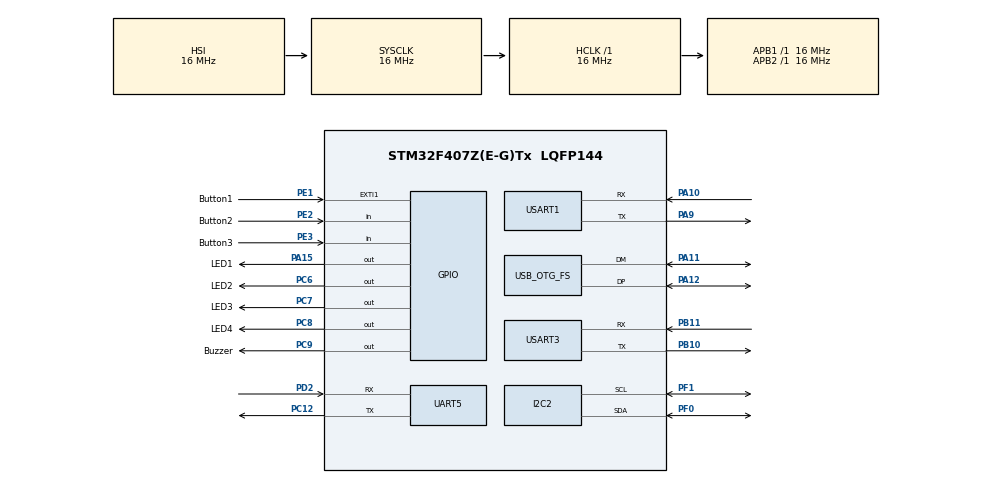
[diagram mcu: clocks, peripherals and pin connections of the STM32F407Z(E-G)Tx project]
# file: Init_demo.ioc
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Mcu.Family=STM32F4
Mcu.Name=STM32F407Z(E-G)Tx
Mcu.Package=LQFP144
NVIC.EXTI1_IRQn=true\:1\:0\:true\:false\:true\:true\:true
NVIC.OTG_FS_IRQn=true\:0\:0\:false\:false\:true\:false\:true
NVIC.PriorityGroup=NVIC_PRIORITYGROUP_4
NVIC.USART3_IRQn=true\:0\:0\:false\:false\:true\:true\:true
PA10.Mode=Asynchronous
PA10.Signal=USART1_RX
PA11.Mode=Device_Only
PA11.Signal=USB_OTG_FS_DM
PA12.Mode=Device_Only
PA12.Signal=USB_OTG_FS_DP
PA13.Mode=Serial_Wire
PA13.Signal=SYS_JTMS-SWDIO
PA14.Mode=Serial_Wire
PA14.Signal=SYS_JTCK-SWCLK
PA15.GPIO_Label=LED1
PA15.PinState=GPIO_PIN_SET
PA15.Signal=GPIO_Output
PA9.Mode=Asynchronous
PA9.Signal=USART1_TX
PB10.Mode=Asynchronous
PB10.Signal=USART3_TX
PB11.Mode=Asynchronous
PB11.Signal=USART3_RX
PC12.Mode=Asynchronous
PC12.Signal=UART5_TX
PC6.GPIO_Label=LED2
PC6.PinState=GPIO_PIN_RESET
PC6.Signal=GPIO_Output
PC7.GPIO_Label=LED3
PC7.PinState=GPIO_PIN_RESET
PC7.Signal=GPIO_Output
PC8.GPIO_Label=LED4
PC8.PinState=GPIO_PIN_RESET
PC8.Signal=GPIO_Output
PC9.GPIO_Label=Buzzer
PC9.PinState=GPIO_PIN_RESET
PC9.Signal=GPIO_Output
PD2.Mode=Asynchronous
PD2.Signal=UART5_RX
PE1.GPIO_Label=Button1
PE1.GPIO_ModeDefaultEXTI=GPIO_MODE_IT_RISING_FALLING
PE1.GPIO_PuPd=GPIO_PULLUP
PE1.Signal=GPXTI1
PE2.GPIO_Label=Button2
PE2.GPIO_PuPd=GPIO_PULLUP
PE2.Signal=GPIO_Input
PE3.GPIO_Label=Button3
PE3.GPIO_PuPd=GPIO_PULLUP
PE3.Signal=GPIO_Input
PF0.Mode=I2C
PF0.Signal=I2C2_SDA
PF1.Mode=I2C
PF1.Signal=I2C2_SCL
PH0-OSC_IN.Mode=HSE-External-Oscillator
PH0-OSC_IN.Signal=RCC_OSC_IN
PH1-OSC_OUT.Mode=HSE-External-Oscillator
PH1-OSC_OUT.Signal=RCC_OSC_OUT
ProjectManager.HeapSize=0x600
ProjectManager.StackSize=0x400
ProjectManager.TargetToolchain=STM32CubeIDE
RCC.48MHZClocksFreq_Value=48000000
RCC.AHBFreq_Value=16000000
RCC.APB1Freq_Value=16000000
RCC.APB2Freq_Value=16000000
RCC.CortexFreq_Value=16000000
RCC.HSE_VALUE=8000000
RCC.HSI_VALUE=16000000
RCC.LSE_VALUE=32768
RCC.PLLM=4
RCC.PLLN=72
RCC.PLLQ=3
RCC.SYSCLKFreq_VALUE=16000000
RCC.VCOOutputFreq_Value=144000000
UART5.VirtualMode=Asynchronous
USART1.VirtualMode=VM_ASYNC
USART3.VirtualMode=VM_ASYNC
USB_DEVICE.CLASS_NAME_FS=CDC
USB_DEVICE.VirtualMode-CDC_FS=Cdc
USB_DEVICE.VirtualModeFS=Cdc_FS
USB_OTG_FS.VirtualMode=Device_Only
VP_USB_DEVICE_VS_USB_DEVICE_CDC_FS.Mode=CDC_FS
board=custom

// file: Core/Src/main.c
/* USER CODE BEGIN Header */
/**
 ******************************************************************************
 * @file           : main.c
 * @brief          : Main program body
 ******************************************************************************
 * @attention
 *
 * Copyright (c) 2022 STMicroelectronics.
 * All rights reserved.
 *
 * This software is licensed under terms that can be found in the LICENSE file
 * in the root directory of this software component.
 * If no LICENSE file comes with this software, it is provided AS-IS.
 *
 ******************************************************************************
 */
/* USER CODE END Header */
#include "main.h"
#include "i2c.h"
#include "usart.h"
#include "usb_device.h"
#include "gpio.h"

/* USER CODE BEGIN PV */
unsigned char buff[4] = { "abcd" };
//uint8_t UserRxBufferFS[APP_RX_DATA_SIZE];//接收缓存
//uint8_t UserTxBufferFS[APP_TX_DATA_SIZE];//发�?�缓�?????
//static int8_t CDC_Receive_FS(uint8_t* Buf, uint32_t *Len);//接收回调函数
//uint8_t CDC_Transmit_FS(uint8_t* Buf, uint16_t Len);//发�?�函�?????
uint8_t aTxBuffer[] = "USART TEST\r\n"; //用于发�?�的字符�????
uint8_t aRxBuffer[20]; //用于接收的字符串
/* USER CODE END PV */

void SystemClock_Config(void);

int main(void)
{

  /* MCU Configuration--------------------------------------------------------*/

  /* Reset of all peripherals, Initializes the Flash interface and the Systick. */
  HAL_Init();

  /* Configure the system clock */
  SystemClock_Config();

  /* Initialize all configured peripherals */
  MX_GPIO_Init();
  MX_I2C2_Init();
  MX_USB_DEVICE_Init();
  MX_USART3_UART_Init();
  MX_UART5_Init();
  MX_USART1_UART_Init();
  /* USER CODE BEGIN 2 */
	HAL_UART_Receive_IT(&huart3, (uint8_t*) aRxBuffer, 1); // 接收中断�????启函�????
	HAL_UART_Transmit(&huart3, (uint8_t*) aTxBuffer, sizeof(aTxBuffer) - 1,
			0xFFFF); // 发上�????次自定义�???? aTxBuffer
  /* USER CODE END 2 */

  /* Infinite loop */
	while (1) {

    /* USER CODE BEGIN 3 */

		if (HAL_GPIO_ReadPin(Button2_GPIO_Port, Button2_Pin) == 0) {
			HAL_GPIO_WritePin(LED2_GPIO_Port, LED2_Pin, 0);
			HAL_GPIO_WritePin(LED3_GPIO_Port, LED3_Pin, 0);
			HAL_GPIO_WritePin(LED4_GPIO_Port, LED4_Pin, 0);
		} else {
			HAL_GPIO_WritePin(LED2_GPIO_Port, LED2_Pin, 1);
			HAL_GPIO_WritePin(LED3_GPIO_Port, LED3_Pin, 1);
			HAL_GPIO_WritePin(LED4_GPIO_Port, LED4_Pin, 1);
		}
		if (HAL_GPIO_ReadPin(Button3_GPIO_Port, Button3_Pin) == 0) {
			HAL_GPIO_WritePin(Buzzer_GPIO_Port, Buzzer_Pin, 1);
		} else {
			HAL_GPIO_WritePin(Buzzer_GPIO_Port, Buzzer_Pin, 0);
		}

	}
  /* USER CODE END 3 */
}

void SystemClock_Config(void)
{
  RCC_OscInitTypeDef RCC_OscInitStruct = {0};
  RCC_ClkInitTypeDef RCC_ClkInitStruct = {0};

  /** Configure the main internal regulator output voltage
  */
  __HAL_RCC_PWR_CLK_ENABLE();
  __HAL_PWR_VOLTAGESCALING_CONFIG(PWR_REGULATOR_VOLTAGE_SCALE1);
  /** Initializes the RCC Oscillators according to the specified parameters
  * in the RCC_OscInitTypeDef structure.
  */
  RCC_OscInitStruct.OscillatorType = RCC_OSCILLATORTYPE_HSI|RCC_OSCILLATORTYPE_HSE;
  RCC_OscInitStruct.HSEState = RCC_HSE_ON;
  RCC_OscInitStruct.HSIState = RCC_HSI_ON;
  RCC_OscInitStruct.HSICalibrationValue = RCC_HSICALIBRATION_DEFAULT;
  RCC_OscInitStruct.PLL.PLLState = RCC_PLL_ON;
  RCC_OscInitStruct.PLL.PLLSource = RCC_PLLSOURCE_HSE;
  RCC_OscInitStruct.PLL.PLLM = 4;
  RCC_OscInitStruct.PLL.PLLN = 72;
  RCC_OscInitStruct.PLL.PLLP = RCC_PLLP_DIV2;
  RCC_OscInitStruct.PLL.PLLQ = 3;
  if (HAL_RCC_OscConfig(&RCC_OscInitStruct) != HAL_OK)
  {
    Error_Handler();
  }
  /** Initializes the CPU, AHB and APB buses clocks
  */
  RCC_ClkInitStruct.ClockType = RCC_CLOCKTYPE_HCLK|RCC_CLOCKTYPE_SYSCLK
                              |RCC_CLOCKTYPE_PCLK1|RCC_CLOCKTYPE_PCLK2;
  RCC_ClkInitStruct.SYSCLKSource = RCC_SYSCLKSOURCE_HSI;
  RCC_ClkInitStruct.AHBCLKDivider = RCC_SYSCLK_DIV1;
  RCC_ClkInitStruct.APB1CLKDivider = RCC_HCLK_DIV1;
  RCC_ClkInitStruct.APB2CLKDivider = RCC_HCLK_DIV1;

  if (HAL_RCC_ClockConfig(&RCC_ClkInitStruct, FLASH_LATENCY_0) != HAL_OK)
  {
    Error_Handler();
  }
}

void Error_Handler(void)
{
	__disable_irq();
	while (1) {
	}
}
